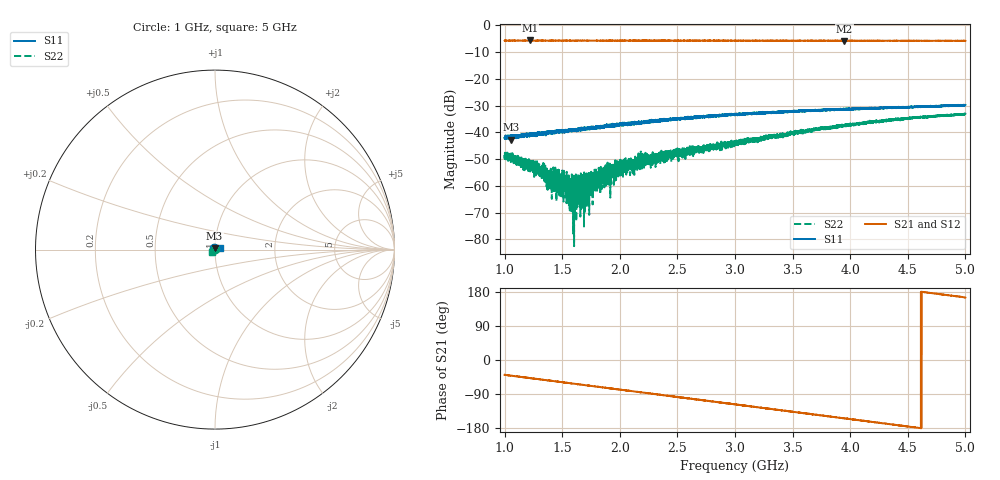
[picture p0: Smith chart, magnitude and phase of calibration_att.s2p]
!Agilent Technologies,E8364A,US41440144,A.06.04.32
!Agilent E8364A: A.06.04.32
!Date: Thursday, March 11, 2021 17:09:28
!Correction: S11(Full 2 Port(1,2)) S21(Full 2 Port(1,2)) S12(Full 2 Port(1,2)) S22(Full 2 Port(1,2))
!S2P File: Measurements: S11, S21, S12, S22:
# Hz S  dB  R 50
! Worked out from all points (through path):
!   10001 points, 1 GHz to 5 GHz, reference 50 ohm
!   highest |S21| = -5.70 dB at 1.221 GHz (marker M1); lowest = -5.9 dB at 3.95 GHz (marker M2)
!   group delay of S21, straight-line fit = 108 ps
!   lowest |S11| = -42.7 dB at 1.054 GHz (marker M3), VSWR 1.01, Z = 49.8 + j0.688 ohm
!   |S11| at or under -10 dB: start of sweep to end of sweep
!   |S22| runs from -82.5 to -33.0 dB; largest |S21 - S12| = 0.0076
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1e9  -42.14 113.8  -5.74 -39.3  -5.76 -39.0  -48.45 130.6
1.054e9  -42.70 109.3  -5.73 -41.1  -5.76 -41.2  -51.10 137.7
1.2208e9  -41.10 106.7  -5.70 -47.6  -5.74 -47.8  -51.51 143.1
1.2824e9  -40.74 105.5  -5.76 -49.9  -5.79 -50.1  -52.88 152.2
1.4136e9  -40.04 99.7  -5.74 -55.1  -5.75 -55.4  -58.08 151.4
1.5332e9  -39.68 100.7  -5.73 -60.1  -5.78 -59.9  -59.11 167.8
1.576e9  -39.24 99.5  -5.77 -61.4  -5.73 -61.6  -60.69 -178.6
1.6404e9  -38.54 95.2  -5.76 -64.0  -5.73 -64.1  -62.77 -125.6
1.6668e9  -39.20 94.2  -5.76 -64.9  -5.75 -65.2  -60.53 -127.6
1.7036e9  -38.57 96.9  -5.75 -66.6  -5.77 -66.6  -62.22 -147.2
1.766e9  -38.50 92.9  -5.74 -69.1  -5.72 -69.0  -57.11 -105.4
1.934e9  -37.40 87.2  -5.77 -75.7  -5.77 -75.5  -53.21 -105.3
1.974e9  -37.25 87.5  -5.76 -77.3  -5.76 -77.0  -50.84 -119.1
2.122e9  -36.61 82.5  -5.77 -83.0  -5.77 -82.9  -50.99 -97.9
2.2232e9  -35.97 81.8  -5.74 -86.9  -5.77 -86.7  -51.22 -95.5
2.3336e9  -35.60 77.5  -5.79 -91.3  -5.77 -91.3  -49.24 -99.4
2.6136e9  -34.84 66.9  -5.79 -102.1  -5.76 -102.0  -46.65 -95.7
3e9  -33.27 56.8  -5.77 -117.1  -5.76 -117.2  -44.36 -92.2
3.6668e9  -31.84 42.0  -5.78 -143.2  -5.80 -143.1  -39.21 -97.2
3.95e9  -31.38 35.9  -5.89 -154.2  -5.81 -154.1  -37.38 -102.4
4.3336e9  -30.88 28.9  -5.81 -168.9  -5.83 -168.7  -35.65 -116.1
5e9  -29.78 18.3  -5.83 165.0  -5.84 165.2  -33.31 -139.5
